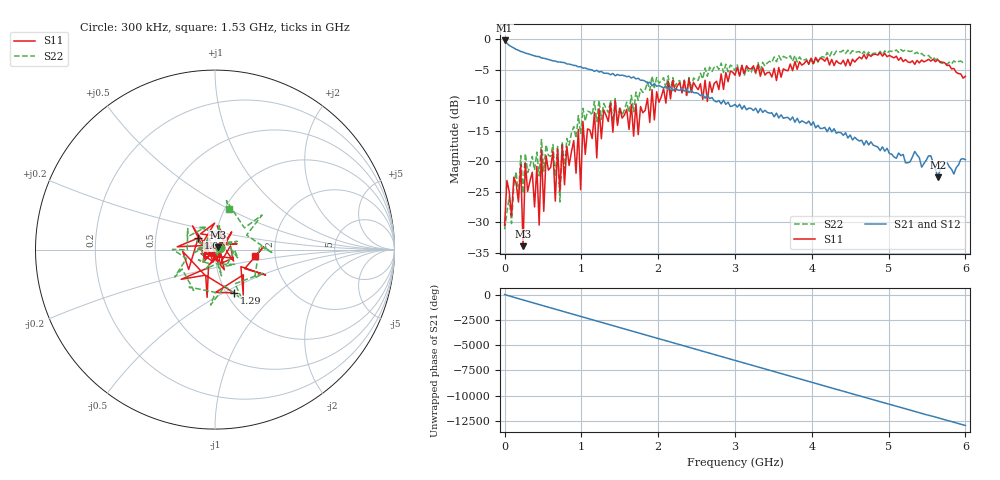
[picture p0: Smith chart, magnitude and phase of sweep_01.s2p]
! 2-port S-parameters written by miniscope-char acquisition
! instrument: Pico Technology Ltd,PicoVNA-106,10080,5.3.4
! transport: scpi
! endpoint: 127.0.0.1:5025
! demo: false
! calibration: software
# HZ S RI R 50
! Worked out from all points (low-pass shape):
!   201 points, 300 kHz to 6 GHz, reference 50 ohm
!   highest |S21| = -0.21 dB at 300 kHz (marker M1); lowest = -22.6 dB at 5.64 GHz (marker M2)
!   |S21| within 3 dB of the highest: start of sweep to 537.8 MHz
!   lowest |S11| = -33.9 dB at 240.3 MHz (marker M3), VSWR 1.04, Z = 51.5 + j1.36 ohm
!   |S11| at or under -10 dB: start of sweep to 1.856 GHz; 1.862 GHz to 1.911 GHz (48.07 MHz wide, 2.55 % of centre); 1.931 GHz to 1.971 GHz (40.58 MHz wide, 2.08 % of centre)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
!   |S22| runs from -31.2 to -1.7 dB; largest |S21 - S12| = 0.014
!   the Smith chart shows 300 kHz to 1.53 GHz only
!   S11 on the Smith chart (normalised r, x): 300 kHz: 1.05, +0.03; 1.05 GHz: 0.82, +0.11; 1.29 GHz: 1.09, -0.56; 1.53 GHz: 1.57, -0.12
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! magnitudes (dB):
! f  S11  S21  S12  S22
! 300 kHz  -30.5  -0.2  -0.3  -31.2
! 210.3 MHz  -20.5  -2.0  -2.0  -19.1
! 240.3 MHz  -33.9  -2.1  -2.1  -25.3
! 270.3 MHz  -20.3  -2.3  -2.3  -18.7
! 450.3 MHz  -30.5  -2.8  -2.8  -22.4
! 480.3 MHz  -18.1  -3.1  -3.1  -16.5
! 510.3 MHz  -28.2  -3.1  -3.1  -21.6
! 690.3 MHz  -17.9  -3.7  -3.7  -17.6
! 720.3 MHz  -25.0  -3.7  -3.7  -26.7
! 750.3 MHz  -17.3  -3.8  -3.8  -16.8
! 960.3 MHz  -14.8  -4.5  -4.5  -12.5
! 990.3 MHz  -24.7  -4.5  -4.5  -15.6
! 1.02 GHz  -13.5  -4.8  -4.7  -11.4
! 1.05 GHz  -18.9  -4.7  -4.7  -13.4
! 1.29 GHz  -11.6  -5.6  -5.6  -10.5
! 1.53 GHz  -12.9  -5.9  -5.9  -12.5
! 2.01 GHz  -10.3  -7.6  -7.6  -7.2
! 3 GHz  -5.9  -10.7  -10.7  -5.1
! 4.02 GHz  -4.0  -13.6  -13.5  -4.2
! 5.01 GHz  -2.7  -18.7  -18.8  -1.9
! 5.64 GHz  -3.4  -22.6  -22.6  -3.2
! 6 GHz  -6.1  -19.8  -19.7  -3.7
